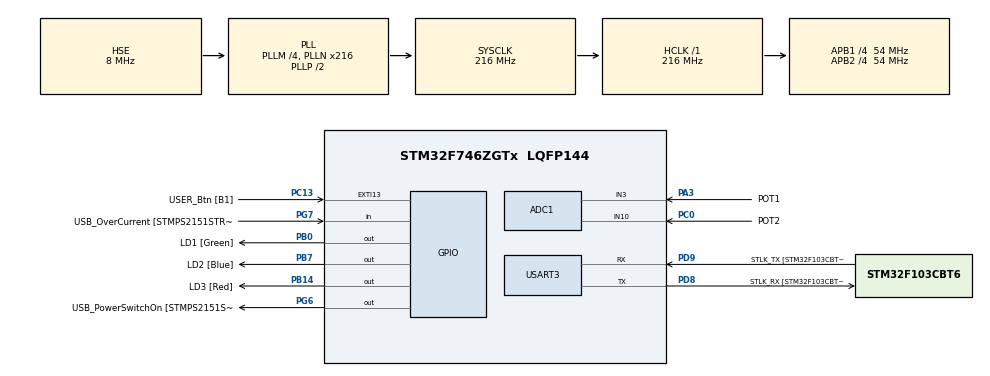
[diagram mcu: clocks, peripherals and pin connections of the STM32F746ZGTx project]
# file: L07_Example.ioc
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ADC1.Channel-0\#ChannelRegularConversion=ADC_CHANNEL_3
ADC1.Channel-1\#ChannelRegularConversion=ADC_CHANNEL_10
ADC1.DMAContinuousRequests=ENABLE
ADC1.DiscontinuousConvMode=DISABLE
ADC1.EOCSelection=ADC_EOC_SEQ_CONV
ADC1.NbrOfConversion=2
ADC1.NbrOfConversionFlag=1
ADC1.Rank-0\#ChannelRegularConversion=1
ADC1.Rank-1\#ChannelRegularConversion=2
ADC1.SamplingTime-0\#ChannelRegularConversion=ADC_SAMPLETIME_480CYCLES
ADC1.SamplingTime-1\#ChannelRegularConversion=ADC_SAMPLETIME_480CYCLES
ADC1.master=1
Dma.ADC1.0.Direction=DMA_PERIPH_TO_MEMORY
Dma.ADC1.0.FIFOMode=DMA_FIFOMODE_DISABLE
Dma.ADC1.0.Instance=DMA2_Stream0
Dma.ADC1.0.MemDataAlignment=DMA_MDATAALIGN_HALFWORD
Dma.ADC1.0.MemInc=DMA_MINC_ENABLE
Dma.ADC1.0.Mode=DMA_CIRCULAR
Dma.ADC1.0.PeriphDataAlignment=DMA_PDATAALIGN_HALFWORD
Dma.ADC1.0.PeriphInc=DMA_PINC_DISABLE
Dma.ADC1.0.Priority=DMA_PRIORITY_LOW
Dma.Request0=ADC1
Mcu.Family=STM32F7
Mcu.Name=STM32F746ZGTx
Mcu.Package=LQFP144
NVIC.DMA2_Stream0_IRQn=true\:0\:0\:false\:false\:true\:false\:true\:true
NVIC.EXTI15_10_IRQn=true\:2\:0\:true\:false\:true\:true\:true\:true
NVIC.PriorityGroup=NVIC_PRIORITYGROUP_4
NVIC.TIM6_DAC_IRQn=true\:1\:0\:true\:false\:true\:true\:true\:true
PA1.GPIO_Label=RMII_REF_CLK [LAN8742A-CZ-TR_REFCLK0]
PA1.Signal=ETH_REF_CLK
PA10.GPIO_Label=USB_ID
PA10.Signal=USB_OTG_FS_ID
PA11.GPIO_Label=USB_DM
PA11.Signal=USB_OTG_FS_DM
PA12.GPIO_Label=USB_DP
PA12.Signal=USB_OTG_FS_DP
PA13.GPIO_Label=TMS
PA13.Mode=Serial_Wire
PA13.Signal=SYS_JTMS-SWDIO
PA14.GPIO_Label=TCK
PA14.Mode=Serial_Wire
PA14.Signal=SYS_JTCK-SWCLK
PA2.GPIO_Label=RMII_MDIO [LAN8742A-CZ-TR_MDIO]
PA2.Signal=ETH_MDIO
PA3.GPIO_Label=POT1
PA3.Signal=ADCx_IN3
PA7.GPIO_Label=RMII_CRS_DV [LAN8742A-CZ-TR_CRS_DV]
PA7.Signal=ETH_CRS_DV
PA8.GPIO_Label=USB_SOF [TP1]
PA8.Signal=USB_OTG_FS_SOF
PA9.GPIO_Label=USB_VBUS
PA9.Signal=USB_OTG_FS_VBUS
PB0.GPIO_Label=LD1 [Green]
PB0.Signal=GPIO_Output
PB13.GPIO_Label=RMII_TXD1 [LAN8742A-CZ-TR_TXD1]
PB13.Signal=ETH_TXD1
PB14.GPIO_Label=LD3 [Red]
PB14.Signal=GPIO_Output
PB3.GPIO_Label=SW0
PB3.Signal=SYS_JTDO-SWO
PB7.GPIO_Label=LD2 [Blue]
PB7.Signal=GPIO_Output
PC0.GPIO_Label=POT2
PC0.Signal=ADCx_IN10
PC1.GPIO_Label=RMII_MDC [LAN8742A-CZ-TR_MDC]
PC1.Signal=ETH_MDC
PC13.GPIO_Label=USER_Btn [B1]
PC13.Signal=GPXTI13
PC14/OSC32_IN.Mode=LSE-External-Oscillator
PC14/OSC32_IN.Signal=RCC_OSC32_IN
PC15/OSC32_OUT.Mode=LSE-External-Oscillator
PC15/OSC32_OUT.Signal=RCC_OSC32_OUT
PC4.GPIO_Label=RMII_RXD0 [LAN8742A-CZ-TR_RXD0]
PC4.Signal=ETH_RXD0
PC5.GPIO_Label=RMII_RXD1 [LAN8742A-CZ-TR_RXD1]
PC5.Signal=ETH_RXD1
PD8.GPIO_Label=STLK_RX [STM32F103CBT6_PA3]
PD8.GPIO_PuPd=GPIO_PULLUP
PD8.Mode=Asynchronous
PD8.Signal=USART3_TX
PD9.GPIO_Label=STLK_TX [STM32F103CBT6_PA2]
PD9.GPIO_PuPd=GPIO_PULLUP
PD9.Mode=Asynchronous
PD9.Signal=USART3_RX
PG11.GPIO_Label=RMII_TX_EN [LAN8742A-CZ-TR_TXEN]
PG11.Signal=ETH_TX_EN
PG13.GPIO_Label=RMII_TXD0 [LAN8742A-CZ-TR_TXD0]
PG13.Signal=ETH_TXD0
PG6.GPIO_Label=USB_PowerSwitchOn [STMPS2151STR_EN]
PG6.Signal=GPIO_Output
PG7.GPIO_Label=USB_OverCurrent [STMPS2151STR_FAULT]
PG7.Signal=GPIO_Input
PH0/OSC_IN.GPIO_Label=MCO [STM32F103CBT6_PA8]
PH0/OSC_IN.Mode=HSE-External-Clock-Source
PH0/OSC_IN.Signal=RCC_OSC_IN
PH1/OSC_OUT.Mode=HSE-External-Clock-Source
PH1/OSC_OUT.Signal=RCC_OSC_OUT
ProjectManager.HeapSize=0x200
ProjectManager.StackSize=0x400
ProjectManager.TargetToolchain=STM32CubeIDE
RCC.48MHZClocksFreq_Value=24000000
RCC.AHBFreq_Value=216000000
RCC.APB1CLKDivider=RCC_HCLK_DIV4
RCC.APB1Freq_Value=54000000
RCC.APB1TimFreq_Value=108000000
RCC.APB2CLKDivider=RCC_HCLK_DIV4
RCC.APB2Freq_Value=54000000
RCC.APB2TimFreq_Value=108000000
RCC.CortexFreq_Value=216000000
RCC.HCLKFreq_Value=216000000
RCC.HSE_VALUE=8000000
RCC.HSI_VALUE=16000000
RCC.PLLM=4
RCC.PLLMUL=RCC_PLL_MUL9
RCC.PLLN=216
RCC.PLLQ=3
RCC.PLLSourceVirtual=RCC_PLLSOURCE_HSE
RCC.PRESCALERUSB=RCC_USBCLKSOURCE_PLL_DIV1_5
RCC.SYSCLKFreq_VALUE=216000000
RCC.SYSCLKSource=RCC_SYSCLKSOURCE_PLLCLK
RCC.SYSCLKSourceVirtual=RCC_SYSCLKSOURCE_PLLCLK
RCC.USBFreq_Value=144000000
RCC.VCOOutputFreq_Value=432000000
SH.ADCx_IN10.0=ADC1_IN10,IN10
SH.ADCx_IN3.0=ADC1_IN3,IN3
TIM6.Period=9999
TIM6.Prescaler=107
USART3.VirtualMode-Asynchronous=VM_ASYNC
VP_TIM6_VS_ClockSourceINT.Mode=Enable_Timer
board=NUCLEO-F746ZG

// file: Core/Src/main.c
/* USER CODE BEGIN Header */
/**
  ******************************************************************************
  * @file           : main.c
  * @brief          : Main program body
  ******************************************************************************
  * @attention
  *
  * Copyright (c) 2023 STMicroelectronics.
  * All rights reserved.
  *
  * This software is licensed under terms that can be found in the LICENSE file
  * in the root directory of this software component.
  * If no LICENSE file comes with this software, it is provided AS-IS.
  *
  ******************************************************************************
  */
/* USER CODE END Header */
#include "main.h"
#include "adc.h"
#include "dma.h"
#include "tim.h"
#include "usart.h"
#include "gpio.h"

/* USER CODE BEGIN Includes */
#include <stdio.h>
#include "aio.h"
#include "led_config.h"
/* USER CODE END Includes */

/* USER CODE BEGIN PV */
float pot1_vol = 0.0f;
float pot2_vol = 0.0f;

uint16_t adc1_conv_buffer[ADC1_NUMBER_OF_CONV];
/* USER CODE END PV */

void SystemClock_Config(void);

/* USER CODE BEGIN 0 */

/**
  * @brief  Regular conversion complete callback in non blocking mode
  * @param  hadc pointer to a ADC_HandleTypeDef structure that contains
  *         the configuration information for the specified ADC.
  * @retval None
  */
void HAL_ADC_ConvCpltCallback(ADC_HandleTypeDef* hadc)
{
  if(hadc == &hadc1)
  {
    pot1_vol = ADC_REG2VOLTAGE(adc1_conv_buffer[0]);
    pot2_vol = ADC_REG2VOLTAGE(adc1_conv_buffer[1]);

    LED_DIO_Write(&hldg1, pot2_vol > 1000.0f);
    LED_DIO_Write(&hldb1, pot2_vol > 2000.0f);
    LED_DIO_Write(&hldr1, pot2_vol > 3000.0f);
  }
}

/**
  * @brief  Period elapsed callback in non-blocking mode
  * @param  htim TIM handle
  * @retval None
  */
void HAL_TIM_PeriodElapsedCallback(TIM_HandleTypeDef *htim)
{
  if(htim == &htim6)
  {
    HAL_ADC_Start_DMA(&hadc1, (uint32_t*)adc1_conv_buffer, ADC1_NUMBER_OF_CONV);
  }
}

/**
  * @brief  EXTI line detection callbacks.
  * @param  GPIO_Pin Specifies the pins connected EXTI line
  * @retval None
  */
void HAL_GPIO_EXTI_Callback(uint16_t GPIO_Pin)
{
  unsigned char tx_buffer[64] = { 0, };
  int tx_n = sprintf((char*)tx_buffer, "{ \"channel\" : 3, \"voltage\" : %d }\r", (int)pot1_vol);
  HAL_UART_Transmit(&huart3, tx_buffer, tx_n, 100);
}
/* USER CODE END 0 */

int main(void)
{

  /* MCU Configuration--------------------------------------------------------*/

  /* Reset of all peripherals, Initializes the Flash interface and the Systick. */
  HAL_Init();

  /* Configure the system clock */
  SystemClock_Config();

  /* Initialize all configured peripherals */
  MX_GPIO_Init();
  MX_DMA_Init();
  MX_ADC1_Init();
  MX_USART3_UART_Init();
  MX_TIM6_Init();
  /* USER CODE BEGIN 2 */
  HAL_TIM_Base_Start_IT(&htim6);
  /* USER CODE END 2 */

  /* Infinite loop */
  while (1)
  {

  }
}

void SystemClock_Config(void)
{
  RCC_OscInitTypeDef RCC_OscInitStruct = {0};
  RCC_ClkInitTypeDef RCC_ClkInitStruct = {0};

  /** Configure LSE Drive Capability
  */
  HAL_PWR_EnableBkUpAccess();

  /** Configure the main internal regulator output voltage
  */
  __HAL_RCC_PWR_CLK_ENABLE();
  __HAL_PWR_VOLTAGESCALING_CONFIG(PWR_REGULATOR_VOLTAGE_SCALE1);

  /** Initializes the RCC Oscillators according to the specified parameters
  * in the RCC_OscInitTypeDef structure.
  */
  RCC_OscInitStruct.OscillatorType = RCC_OSCILLATORTYPE_HSE;
  RCC_OscInitStruct.HSEState = RCC_HSE_BYPASS;
  RCC_OscInitStruct.PLL.PLLState = RCC_PLL_ON;
  RCC_OscInitStruct.PLL.PLLSource = RCC_PLLSOURCE_HSE;
  RCC_OscInitStruct.PLL.PLLM = 4;
  RCC_OscInitStruct.PLL.PLLN = 216;
  RCC_OscInitStruct.PLL.PLLP = RCC_PLLP_DIV2;
  RCC_OscInitStruct.PLL.PLLQ = 3;
  if (HAL_RCC_OscConfig(&RCC_OscInitStruct) != HAL_OK)
  {
    Error_Handler();
  }

  /** Activate the Over-Drive mode
  */
  if (HAL_PWREx_EnableOverDrive() != HAL_OK)
  {
    Error_Handler();
  }

  /** Initializes the CPU, AHB and APB buses clocks
  */
  RCC_ClkInitStruct.ClockType = RCC_CLOCKTYPE_HCLK|RCC_CLOCKTYPE_SYSCLK
                              |RCC_CLOCKTYPE_PCLK1|RCC_CLOCKTYPE_PCLK2;
  RCC_ClkInitStruct.SYSCLKSource = RCC_SYSCLKSOURCE_PLLCLK;
  RCC_ClkInitStruct.AHBCLKDivider = RCC_SYSCLK_DIV1;
  RCC_ClkInitStruct.APB1CLKDivider = RCC_HCLK_DIV4;
  RCC_ClkInitStruct.APB2CLKDivider = RCC_HCLK_DIV4;

  if (HAL_RCC_ClockConfig(&RCC_ClkInitStruct, FLASH_LATENCY_7) != HAL_OK)
  {
    Error_Handler();
  }
}

void Error_Handler(void)
{
  __disable_irq();
  while (1)
  {
  }
}
